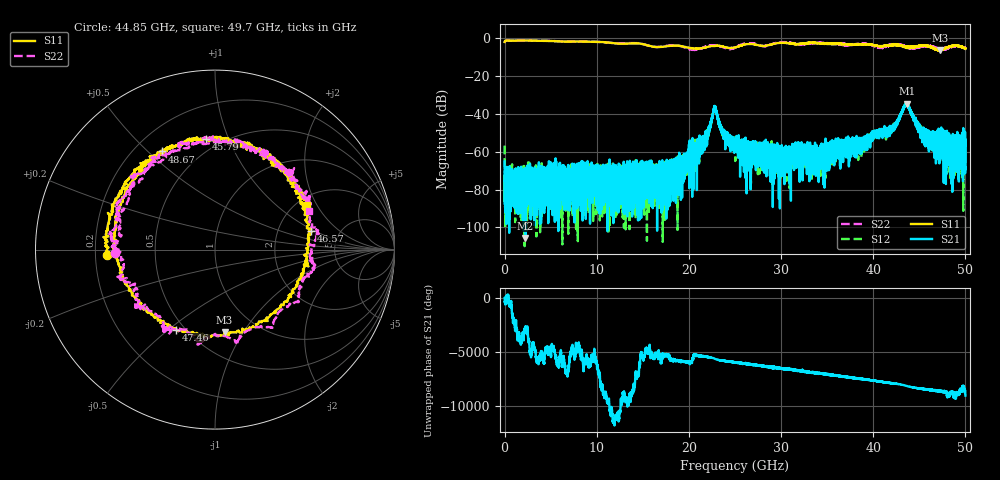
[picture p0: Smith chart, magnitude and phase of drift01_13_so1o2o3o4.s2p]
!Created with skrf (http://scikit-rf.org).
# Hz S RI R 50.0
!freq ReS11 ImS11 ReS21 ImS21 ReS12 ImS12 ReS22 ImS22
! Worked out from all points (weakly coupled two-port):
!   10001 points, 300 kHz to 50 GHz, reference 50 ohm
!   highest |S21| = -34.74 dB at 43.66 GHz (marker M1); lowest = -105.6 dB at 2.25 GHz (marker M2)
!   lowest |S11| = -6.7 dB at 47.24 GHz (marker M3), VSWR 2.74, Z = 35.3 - j41.6 ohm
!   |S11| at or under -10 dB: nowhere
!   |S22| runs from -6.6 to -1.4 dB; largest |S21 - S12| = 0.0042
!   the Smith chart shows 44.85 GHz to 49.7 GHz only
!   S11 on the Smith chart (normalised r, x): 44.85 GHz: 0.25, -0.02; 45.79 GHz: 0.42, +0.83; 46.57 GHz: 3.11, +0.91; 47.46 GHz: 0.45, -0.53; 48.67 GHz: 0.31, +0.55; 49.7 GHz: 2.26, +1.65
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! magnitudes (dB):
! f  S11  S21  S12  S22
! 300 kHz  -2.2  -65.2  -56.8  -2.1
! 255.3 MHz  -1.4  -78.7  -78.2  -1.4
! 2.25 GHz  -1.4  -105.6  -78.2  -1.4
! 8.335 GHz  -2.0  -74.7  -83.0  -1.8
! 16.67 GHz  -4.9  -67.2  -77.7  -4.8
! 20.65 GHz  -5.6  -60.6  -60.0  -6.3
! 21.95 GHz  -4.9  -51.0  -51.1  -4.5
! 22.81 GHz  -4.3  -36.2  -36.3  -4.0
! 23.86 GHz  -4.8  -49.1  -51.6  -5.3
! 25 GHz  -5.0  -55.2  -55.9  -5.1
! 29.69 GHz  -2.7  -62.8  -68.3  -2.5
! 33.34 GHz  -2.6  -59.5  -61.7  -2.6
! 41.67 GHz  -3.9  -49.1  -49.8  -4.2
! 43.66 GHz  -4.9  -34.7  -35.5  -5.0
! 44.85 GHz  -4.4  -45.5  -45.8  -5.1
! 45.79 GHz  -4.2  -50.7  -51.0  -4.3
! 46.57 GHz  -5.3  -57.4  -56.1  -4.8
! 47.24 GHz  -6.7  -54.3  -54.1  -5.5
! 47.46 GHz  -6.1  -49.4  -51.7  -6.0
! 48.67 GHz  -4.1  -60.1  -57.3  -4.7
! 49.7 GHz  -4.9  -62.2  -56.3  -4.9
! 50 GHz  -5.6  -53.9  -57.9  -5.4
